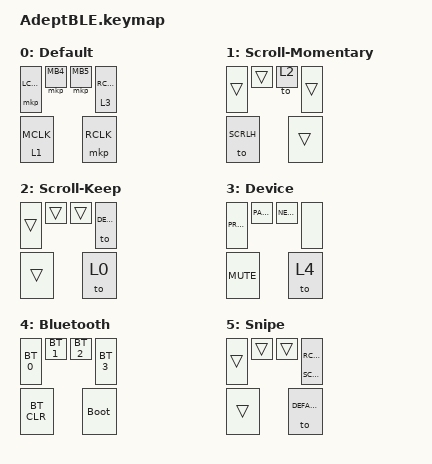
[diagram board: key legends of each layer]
#include <behaviors.dtsi>
#include <dt-bindings/zmk/bt.h>
#include <dt-bindings/zmk/keys.h>
#include <dt-bindings/zmk/pointing.h>

// #include <dt-bindings/zmk/mouse.h>

#define DEFAULT 0
#define SCRLM 1
#define SCRLH 2
#define DEVICE 3
#define BLTH 4
#define SNIPE 5

/ {
    combos {
        compatible = "zmk,combos";

        combo_esc {
            timeout-ms = <50>;
            key-positions = <2 3>;
            bindings = <&mkp RCLK>;
        };
    };

    behaviors {
        ltm: layer-tap-momentary {
            compatible = "zmk,behavior-hold-tap";
            #binding-cells = <2>;
            flavor = "tap-preferred";
            tapping-term-ms = <200>;
            bindings = <&mo>, <&mkp>;
        };

        lth: layer-tap-hold-while-undecided {
            compatible = "zmk,behavior-hold-tap";
            #binding-cells = <2>;
            flavor = "hold-preferred";
            hold-while-undecided;
            tapping-term-ms = <150>;
            bindings = <&mo>, <&mkp>;
        };

        mto: momentary-or-toggle {
            compatible = "zmk,behavior-hold-tap";
            #binding-cells = <2>;
            flavor = "hold-preferred";
            hold-while-undecided;
            tapping-term-ms = <200>;
            bindings = <&mo>, <&to>;
        };
    };

    keymap {
        compatible = "zmk,keymap";

        default_layer {
            display-name = "Default";
            bindings = <
&mkp LCLK  &mkp MB4  &mkp MB5  &lth 3 RCLK  &ltm 1 MCLK  &mkp RCLK
            >;
        };

        scroll_tap_layer {
            display-name = "Scroll-Momentary";
            bindings = <
&trans  &trans  &to 2  &trans  &to SCRLH  &trans
            >;
        };

        scroll_hold_layer {
            display-name = "Scroll-Keep";
            bindings = <
&trans  &trans  &trans  &to DEFAULT  &trans  &to 0
            >;
        };

        Func_layer {
            display-name = "Device";
            bindings = <
&kp C_PREVIOUS  &kp C_PAUSE  &kp C_NEXT  &none  &kp C_MUTE  &to 4
            >;
        };

        bluetooth_layer {
            display-name = "Bluetooth";
            bindings = <
&bt BT_SEL 0  &bt BT_SEL 1  &bt BT_SEL 2  &bt BT_SEL 3  &bt BT_CLR  &bootloader
            >;
        };

        snipe_layer {
            display-name = "Snipe";
            bindings = <
&trans  &trans  &trans  &lth SCRLM RCLK  &trans  &to DEFAULT
            >;
        };
    };
};
